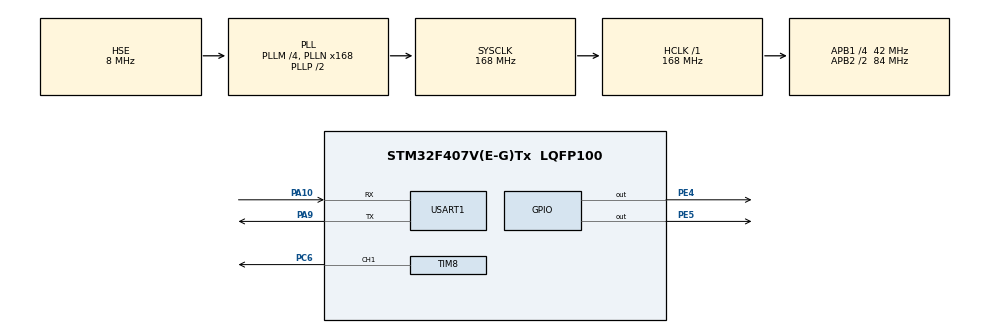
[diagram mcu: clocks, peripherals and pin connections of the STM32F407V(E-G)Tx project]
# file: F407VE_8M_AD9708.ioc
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Mcu.Family=STM32F4
Mcu.Name=STM32F407V(E-G)Tx
Mcu.Package=LQFP100
NVIC.PriorityGroup=NVIC_PRIORITYGROUP_4
NVIC.USART1_IRQn=true\:0\:0\:false\:false\:true\:true\:true
PA10.Mode=Asynchronous
PA10.Signal=USART1_RX
PA13.Mode=Serial_Wire
PA13.Signal=SYS_JTMS-SWDIO
PA14.Mode=Serial_Wire
PA14.Signal=SYS_JTCK-SWCLK
PA9.Mode=Asynchronous
PA9.Signal=USART1_TX
PC14-OSC32_IN.Mode=LSE-External-Oscillator
PC14-OSC32_IN.Signal=RCC_OSC32_IN
PC15-OSC32_OUT.Mode=LSE-External-Oscillator
PC15-OSC32_OUT.Signal=RCC_OSC32_OUT
PC6.Signal=S_TIM8_CH1
PE4.GPIO_ModeDefaultOutputPP=GPIO_MODE_OUTPUT_PP
PE4.GPIO_PuPd=GPIO_PULLUP
PE4.GPIO_Speed=GPIO_SPEED_FREQ_VERY_HIGH
PE4.PinState=GPIO_PIN_SET
PE4.Signal=GPIO_Output
PE5.GPIO_ModeDefaultOutputPP=GPIO_MODE_OUTPUT_PP
PE5.GPIO_PuPd=GPIO_PULLUP
PE5.GPIO_Speed=GPIO_SPEED_FREQ_VERY_HIGH
PE5.PinState=GPIO_PIN_SET
PE5.Signal=GPIO_Output
PH0-OSC_IN.Mode=HSE-External-Oscillator
PH0-OSC_IN.Signal=RCC_OSC_IN
PH1-OSC_OUT.Mode=HSE-External-Oscillator
PH1-OSC_OUT.Signal=RCC_OSC_OUT
ProjectManager.HeapSize=0x200
ProjectManager.StackSize=0x400
ProjectManager.TargetToolchain=MDK-ARM V5.32
RCC.48MHZClocksFreq_Value=84000000
RCC.AHBFreq_Value=168000000
RCC.APB1CLKDivider=RCC_HCLK_DIV4
RCC.APB1Freq_Value=42000000
RCC.APB1TimFreq_Value=84000000
RCC.APB2CLKDivider=RCC_HCLK_DIV2
RCC.APB2Freq_Value=84000000
RCC.APB2TimFreq_Value=168000000
RCC.CortexFreq_Value=168000000
RCC.HCLKFreq_Value=168000000
RCC.HSE_VALUE=8000000
RCC.HSI_VALUE=16000000
RCC.PLLM=4
RCC.PLLN=168
RCC.PLLSourceVirtual=RCC_PLLSOURCE_HSE
RCC.SYSCLKFreq_VALUE=168000000
RCC.SYSCLKSource=RCC_SYSCLKSOURCE_PLLCLK
RCC.VCOOutputFreq_Value=336000000
SH.S_TIM8_CH1.0=TIM8_CH1,PWM Generation1 CH1
TIM8.AutoReloadPreload=TIM_AUTORELOAD_PRELOAD_ENABLE
TIM8.Channel-PWM\ Generation1\ CH1=TIM_CHANNEL_1
TIM8.OCMode_PWM-PWM\ Generation1\ CH1=TIM_OCMODE_PWM2
TIM8.OCPolarity_1=TIM_OCPOLARITY_HIGH
TIM8.Period=3
TIM8.Prescaler=2
TIM8.Pulse-PWM\ Generation1\ CH1=2
TIM8.TIM_MasterOutputTrigger=TIM_TRGO_UPDATE
USART1.VirtualMode=VM_ASYNC
board=custom

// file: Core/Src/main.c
/* USER CODE BEGIN Header */
/**
  ******************************************************************************
  * @file           : main.c
  * @brief          : Main program body
  ******************************************************************************
  * @attention
  *
  * <h2><center>&copy; Copyright (c) 2021 STMicroelectronics.
  * All rights reserved.</center></h2>
  *
  * This software component is licensed by ST under BSD 3-Clause license,
  * the "License"; You may not use this file except in compliance with the
  * License. You may obtain a copy of the License at:
  *                        opensource.org/licenses/BSD-3-Clause
  *
  ******************************************************************************
  */
/* USER CODE END Header */
#include "main.h"
#include "tim.h"
#include "usart.h"
#include "gpio.h"

/* USER CODE BEGIN Includes */
#include "DELAY/delay.h"
#include "PARAIO/paraio.h"
#include "math.h"
/* USER CODE END Includes */

/* USER CODE BEGIN PD */
#define DACLEN 32
#define PI 3.1415926535
/* USER CODE END PD */

/* USER CODE BEGIN PV */
uint8_t dacVal[DACLEN];
/* USER CODE END PV */

void SystemClock_Config(void);

/* USER CODE BEGIN 0 */
void dacValGen(void)
{
  int16_t i; // use signed value to prevent implicit convert to unsigned value
  for(i=0;i<DACLEN;i++)
  {
    dacVal[i] = (double)sin(2 * PI * (double)i / DACLEN) * 127 + 128;
  }
}
/* USER CODE END 0 */

int main(void)
{

  /* MCU Configuration--------------------------------------------------------*/

  /* Reset of all peripherals, Initializes the Flash interface and the Systick. */
  HAL_Init();

  /* Configure the system clock */
  SystemClock_Config();

  /* Initialize all configured peripherals */
  MX_GPIO_Init();
  MX_USART1_UART_Init();
  MX_TIM8_Init();
  /* USER CODE BEGIN 2 */
  Delay_Init(168);
  ParaIO_Init_Out(&htim8,8,1);
  HAL_TIM_PWM_Start(&htim8,TIM_CHANNEL_1);
  dacValGen();
  ParaIO_Start_Out(dacVal,DACLEN);

  /* USER CODE END 2 */

  /* Infinite loop */
  while (1)
  {

    /* USER CODE BEGIN 3 */
    Delay_ms(200);
  }
  /* USER CODE END 3 */
}

void SystemClock_Config(void)
{
  RCC_OscInitTypeDef RCC_OscInitStruct = {0};
  RCC_ClkInitTypeDef RCC_ClkInitStruct = {0};

  /** Configure the main internal regulator output voltage
  */
  __HAL_RCC_PWR_CLK_ENABLE();
  __HAL_PWR_VOLTAGESCALING_CONFIG(PWR_REGULATOR_VOLTAGE_SCALE1);
  /** Initializes the RCC Oscillators according to the specified parameters
  * in the RCC_OscInitTypeDef structure.
  */
  RCC_OscInitStruct.OscillatorType = RCC_OSCILLATORTYPE_HSE;
  RCC_OscInitStruct.HSEState = RCC_HSE_ON;
  RCC_OscInitStruct.PLL.PLLState = RCC_PLL_ON;
  RCC_OscInitStruct.PLL.PLLSource = RCC_PLLSOURCE_HSE;
  RCC_OscInitStruct.PLL.PLLM = 4;
  RCC_OscInitStruct.PLL.PLLN = 168;
  RCC_OscInitStruct.PLL.PLLP = RCC_PLLP_DIV2;
  RCC_OscInitStruct.PLL.PLLQ = 4;
  if (HAL_RCC_OscConfig(&RCC_OscInitStruct) != HAL_OK)
  {
    Error_Handler();
  }
  /** Initializes the CPU, AHB and APB buses clocks
  */
  RCC_ClkInitStruct.ClockType = RCC_CLOCKTYPE_HCLK|RCC_CLOCKTYPE_SYSCLK
                              |RCC_CLOCKTYPE_PCLK1|RCC_CLOCKTYPE_PCLK2;
  RCC_ClkInitStruct.SYSCLKSource = RCC_SYSCLKSOURCE_PLLCLK;
  RCC_ClkInitStruct.AHBCLKDivider = RCC_SYSCLK_DIV1;
  RCC_ClkInitStruct.APB1CLKDivider = RCC_HCLK_DIV4;
  RCC_ClkInitStruct.APB2CLKDivider = RCC_HCLK_DIV2;

  if (HAL_RCC_ClockConfig(&RCC_ClkInitStruct, FLASH_LATENCY_5) != HAL_OK)
  {
    Error_Handler();
  }
}

void Error_Handler(void)
{
  __disable_irq();
  while (1)
  {
  }
}

/************************ (C) COPYRIGHT STMicroelectronics *****END OF FILE****/
